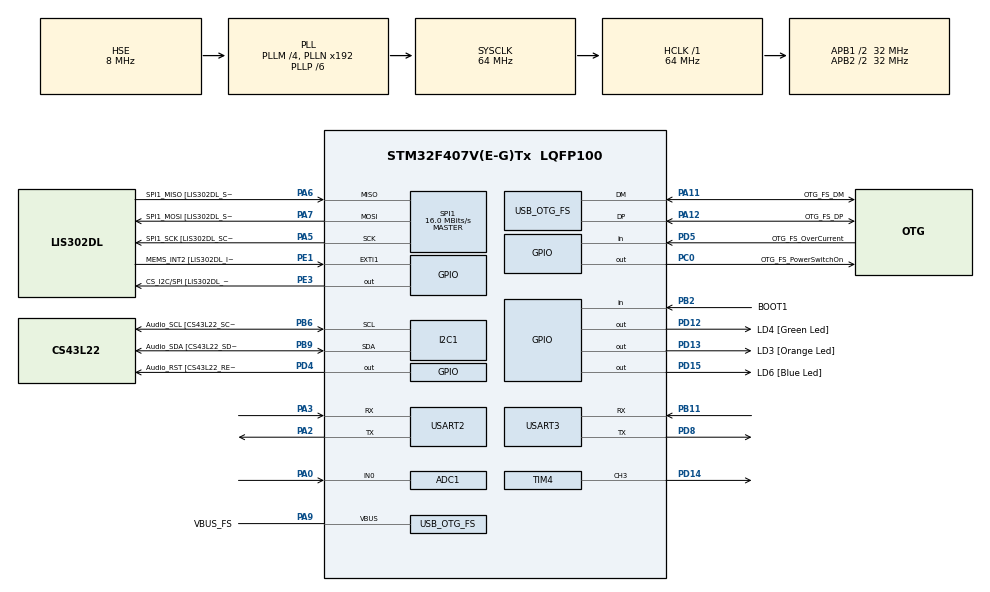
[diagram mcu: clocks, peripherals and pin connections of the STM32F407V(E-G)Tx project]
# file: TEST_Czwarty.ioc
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ADC1.Channel-0\#ChannelRegularConversion=ADC_CHANNEL_0
ADC1.ContinuousConvMode=DISABLE
ADC1.ExternalTrigConv=ADC_EXTERNALTRIGCONV_T3_TRGO
ADC1.NbrOfConversion=1
ADC1.NbrOfConversionFlag=1
ADC1.Rank-0\#ChannelRegularConversion=1
ADC1.SamplingTime-0\#ChannelRegularConversion=ADC_SAMPLETIME_480CYCLES
ADC1.master=1
FREERTOS.HEAP_NUMBER=3
FREERTOS.Queues01=Console_Rx,16,char,0,Dynamic,NULL,NULL
FREERTOS.Tasks01=defaultTask,0,128,StartDefaultTask,Default,NULL,Dynamic,NULL,NULL;Console_service,-2,256,Console_service_start,Default,NULL,Dynamic,NULL,NULL;ADC_service,0,256,ADC_service_start,Default,NULL,Dynamic,NULL,NULL;Diode_Toggle,-3,128,Diode_Toggle_start,Default,NULL,Dynamic,NULL,NULL
FREERTOS.configGENERATE_RUN_TIME_STATS=0
FREERTOS.configTOTAL_HEAP_SIZE=15360
FREERTOS.configUSE_STATS_FORMATTING_FUNCTIONS=0
FREERTOS.configUSE_TRACE_FACILITY=0
Mcu.Family=STM32F4
Mcu.Name=STM32F407V(E-G)Tx
Mcu.Package=LQFP100
NVIC.ADC_IRQn=true\:5\:0\:false\:false\:true\:true\:true\:true
NVIC.OTG_FS_IRQn=true\:5\:0\:false\:false\:true\:true\:true\:true
NVIC.PriorityGroup=NVIC_PRIORITYGROUP_4
NVIC.RCC_IRQn=true\:5\:0\:false\:false\:true\:true\:true\:false
NVIC.TIM3_IRQn=true\:5\:0\:false\:false\:true\:true\:true\:true
NVIC.TIM4_IRQn=true\:5\:0\:false\:false\:true\:true\:true\:true
NVIC.USART2_IRQn=true\:5\:0\:false\:false\:true\:true\:true\:true
NVIC.USART3_IRQn=true\:5\:0\:false\:false\:true\:true\:true\:true
PA0-WKUP.Signal=ADCx_IN0
PA10.GPIO_Label=OTG_FS_ID
PA10.GPIO_Mode=GPIO_MODE_AF_PP
PA10.GPIO_PuPd=GPIO_NOPULL
PA10.GPIO_Speed=GPIO_SPEED_FREQ_LOW
PA10.Signal=USB_OTG_FS_ID
PA11.GPIO_Label=OTG_FS_DM
PA11.GPIO_Mode=GPIO_MODE_AF_PP
PA11.GPIO_PuPd=GPIO_NOPULL
PA11.GPIO_Speed=GPIO_SPEED_FREQ_LOW
PA11.Mode=Device_Only
PA11.Signal=USB_OTG_FS_DM
PA12.GPIO_Label=OTG_FS_DP
PA12.GPIO_Mode=GPIO_MODE_AF_PP
PA12.GPIO_PuPd=GPIO_NOPULL
PA12.GPIO_Speed=GPIO_SPEED_FREQ_LOW
PA12.Mode=Device_Only
PA12.Signal=USB_OTG_FS_DP
PA13.GPIO_Label=SWDIO
PA13.Mode=Serial_Wire
PA13.Signal=SYS_JTMS-SWDIO
PA14.GPIO_Label=SWCLK
PA14.Mode=Serial_Wire
PA14.Signal=SYS_JTCK-SWCLK
PA2.Mode=Asynchronous
PA2.Signal=USART2_TX
PA3.Mode=Asynchronous
PA3.Signal=USART2_RX
PA4.GPIO_Label=I2S3_WS [CS43L22_LRCK]
PA4.GPIO_Mode=GPIO_MODE_AF_PP
PA4.GPIO_PuPd=GPIO_NOPULL
PA4.GPIO_Speed=GPIO_SPEED_FREQ_LOW
PA4.Signal=I2S3_WS
PA5.GPIO_Label=SPI1_SCK [LIS302DL_SCL/SPC]
PA5.GPIO_Mode=GPIO_MODE_AF_PP
PA5.GPIO_PuPd=GPIO_NOPULL
PA5.GPIO_Speed=GPIO_SPEED_FREQ_LOW
PA5.Mode=Full_Duplex_Master
PA5.Signal=SPI1_SCK
PA6.GPIO_Label=SPI1_MISO [LIS302DL_SDO]
PA6.GPIO_Mode=GPIO_MODE_AF_PP
PA6.GPIO_PuPd=GPIO_NOPULL
PA6.GPIO_Speed=GPIO_SPEED_FREQ_LOW
PA6.Mode=Full_Duplex_Master
PA6.Signal=SPI1_MISO
PA7.GPIO_Label=SPI1_MOSI [LIS302DL_SDA/SDI/SDO]
PA7.GPIO_Mode=GPIO_MODE_AF_PP
PA7.GPIO_PuPd=GPIO_NOPULL
PA7.GPIO_Speed=GPIO_SPEED_FREQ_LOW
PA7.Mode=Full_Duplex_Master
PA7.Signal=SPI1_MOSI
PA9.GPIO_Label=VBUS_FS
PA9.GPIO_Mode=GPIO_MODE_INPUT
PA9.GPIO_PuPd=GPIO_NOPULL
PA9.Mode=Activate_VBUS
PA9.Signal=USB_OTG_FS_VBUS
PB10.GPIO_Label=CLK_IN [MP45DT02_CLK]
PB10.GPIO_Mode=GPIO_MODE_AF_PP
PB10.GPIO_PuPd=GPIO_NOPULL
PB10.GPIO_Speed=GPIO_SPEED_FREQ_LOW
PB10.Signal=I2S2_CK
PB11.Mode=Asynchronous
PB11.Signal=USART3_RX
PB2.GPIO_Label=BOOT1
PB2.GPIO_Mode=GPIO_MODE_INPUT
PB2.GPIO_PuPd=GPIO_NOPULL
PB2.Signal=GPIO_Input
PB3.GPIO_Label=SWO
PB3.Signal=SYS_JTDO-SWO
PB6.GPIO_Label=Audio_SCL [CS43L22_SCL]
PB6.GPIO_Mode=GPIO_MODE_AF_OD
PB6.GPIO_PuPd=GPIO_NOPULL
PB6.GPIO_Speed=GPIO_SPEED_FREQ_LOW
PB6.Mode=I2C
PB6.Signal=I2C1_SCL
PB9.GPIO_Label=Audio_SDA [CS43L22_SDA]
PB9.GPIO_Mode=GPIO_MODE_AF_OD
PB9.GPIO_PuPd=GPIO_NOPULL
PB9.GPIO_Speed=GPIO_SPEED_FREQ_LOW
PB9.Mode=I2C
PB9.Signal=I2C1_SDA
PC0.GPIO_Label=OTG_FS_PowerSwitchOn
PC0.GPIO_PuPd=GPIO_NOPULL
PC0.GPIO_Speed=GPIO_SPEED_FREQ_LOW
PC0.PinState=GPIO_PIN_SET
PC0.Signal=GPIO_Output
PC10.GPIO_Label=I2S3_SCK [CS43L22_SCLK]
PC10.GPIO_Mode=GPIO_MODE_AF_PP
PC10.GPIO_PuPd=GPIO_NOPULL
PC10.GPIO_Speed=GPIO_SPEED_FREQ_LOW
PC10.Signal=I2S3_CK
PC12.GPIO_Label=I2S3_SD [CS43L22_SDIN]
PC12.GPIO_Mode=GPIO_MODE_AF_PP
PC12.GPIO_PuPd=GPIO_NOPULL
PC12.GPIO_Speed=GPIO_SPEED_FREQ_LOW
PC12.Signal=I2S3_SD
PC14-OSC32_IN.GPIO_Label=PC14-OSC32_IN
PC14-OSC32_IN.Signal=RCC_OSC32_IN
PC15-OSC32_OUT.GPIO_Label=PC15-OSC32_OUT
PC15-OSC32_OUT.Signal=RCC_OSC32_OUT
PC3.GPIO_Label=PDM_OUT [MP45DT02_DOUT]
PC3.GPIO_Mode=GPIO_MODE_AF_PP
PC3.GPIO_PuPd=GPIO_NOPULL
PC3.GPIO_Speed=GPIO_SPEED_FREQ_LOW
PC3.Signal=I2S2_SD
PC7.GPIO_Label=I2S3_MCK [CS43L22_MCLK]
PC7.GPIO_Mode=GPIO_MODE_AF_PP
PC7.GPIO_PuPd=GPIO_NOPULL
PC7.GPIO_Speed=GPIO_SPEED_FREQ_LOW
PC7.Signal=I2S3_MCK
PD12.GPIO_Label=LD4 [Green Led]
PD12.GPIO_PuPd=GPIO_NOPULL
PD12.GPIO_Speed=GPIO_SPEED_FREQ_LOW
PD12.Signal=GPIO_Output
PD13.GPIO_Label=LD3 [Orange Led]
PD13.GPIO_PuPd=GPIO_NOPULL
PD13.GPIO_Speed=GPIO_SPEED_FREQ_LOW
PD13.Signal=GPIO_Output
PD14.GPIO_PuPd=GPIO_PULLUP
PD14.Signal=S_TIM4_CH3
PD15.GPIO_Label=LD6 [Blue Led]
PD15.GPIO_PuPd=GPIO_NOPULL
PD15.GPIO_Speed=GPIO_SPEED_FREQ_LOW
PD15.Signal=GPIO_Output
PD4.GPIO_Label=Audio_RST [CS43L22_RESET]
PD4.GPIO_PuPd=GPIO_NOPULL
PD4.GPIO_Speed=GPIO_SPEED_FREQ_LOW
PD4.Signal=GPIO_Output
PD5.GPIO_Label=OTG_FS_OverCurrent
PD5.GPIO_Mode=GPIO_MODE_INPUT
PD5.GPIO_PuPd=GPIO_NOPULL
PD5.Signal=GPIO_Input
PD8.Mode=Asynchronous
PD8.Signal=USART3_TX
PE1.GPIO_Label=MEMS_INT2 [LIS302DL_INT2]
PE1.GPIO_ModeDefaultEXTI=GPIO_MODE_EVT_RISING
PE1.GPIO_PuPd=GPIO_NOPULL
PE1.Signal=GPXTI1
PE3.GPIO_Label=CS_I2C/SPI [LIS302DL_CS_I2C/SPI]
PE3.GPIO_PuPd=GPIO_NOPULL
PE3.GPIO_Speed=GPIO_SPEED_FREQ_LOW
PE3.Signal=GPIO_Output
PH0-OSC_IN.GPIO_Label=PH0-OSC_IN
PH0-OSC_IN.Mode=HSE-External-Oscillator
PH0-OSC_IN.Signal=RCC_OSC_IN
PH1-OSC_OUT.GPIO_Label=PH1-OSC_OUT
PH1-OSC_OUT.Mode=HSE-External-Oscillator
PH1-OSC_OUT.Signal=RCC_OSC_OUT
ProjectManager.HeapSize=0x200
ProjectManager.StackSize=0x400
ProjectManager.TargetToolchain=STM32CubeIDE
RCC.48MHZClocksFreq_Value=48000000
RCC.AHBFreq_Value=64000000
RCC.APB1CLKDivider=RCC_HCLK_DIV2
RCC.APB1Freq_Value=32000000
RCC.APB1TimFreq_Value=64000000
RCC.APB2CLKDivider=RCC_HCLK_DIV2
RCC.APB2Freq_Value=32000000
RCC.APB2TimFreq_Value=64000000
RCC.CortexFreq_Value=64000000
RCC.HCLKFreq_Value=64000000
RCC.HSE_VALUE=8000000
RCC.HSI_VALUE=16000000
RCC.LSE_VALUE=32768
RCC.PLLI2SN=50
RCC.PLLM=4
RCC.PLLP=RCC_PLLP_DIV6
RCC.PLLQ=8
RCC.SYSCLKFreq_VALUE=64000000
RCC.SYSCLKSource=RCC_SYSCLKSOURCE_PLLCLK
RCC.VCOOutputFreq_Value=384000000
SH.ADCx_IN0.0=ADC1_IN0,IN0
SH.S_TIM4_CH3.0=TIM4_CH3,PWM Generation3 CH3
SPI1.BaudRatePrescaler-Full_Duplex_Master=SPI_BAUDRATEPRESCALER_2
SPI1.CalculateBaudRate=16.0 MBits/s
SPI1.CalculateBaudRate-Full_Duplex_Master=42.0 MBits/s
SPI1.Direction=SPI_DIRECTION_2LINES
SPI1.Mode=SPI_MODE_MASTER
SPI1.Mode-Full_Duplex_Master=SPI_MODE_MASTER
SPI1.VirtualType=VM_MASTER
TIM3.Period=16
TIM3.Prescaler=9999
TIM3.TIM_MasterOutputTrigger=TIM_TRGO_OC1
TIM4.Channel-PWM\ Generation3\ CH3=TIM_CHANNEL_3
TIM4.OCMode_PWM-PWM\ Generation3\ CH3=TIM_OCMODE_PWM1
TIM4.Period=100
TIM4.Prescaler=2
TIM4.TIM_MasterOutputTrigger=TIM_TRGO_RESET
USART2.VirtualMode=VM_ASYNC
USART3.VirtualMode=VM_ASYNC
USB_DEVICE.CLASS_NAME_FS=CDC
USB_DEVICE.VirtualMode-CDC_FS=Cdc
USB_DEVICE.VirtualModeFS=Cdc_FS
USB_OTG_FS.VirtualMode=Device_Only
VP_FREERTOS_VS_CMSIS_V1.Mode=CMSIS_V1
VP_TIM3_VS_ClockSourceINT.Mode=Internal
VP_TIM3_VS_ClockSourceITR.Mode=TriggerSource_ITR3
VP_TIM4_VS_ClockSourceINT.Mode=Internal
VP_USB_DEVICE_VS_USB_DEVICE_CDC_FS.Mode=CDC_FS
board=STM32F4DISCOVERY

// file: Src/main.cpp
/* USER CODE BEGIN Header */
/**
  ******************************************************************************
  * @file           : main.c
  * @brief          : Main program body
  ******************************************************************************
  * @attention
  *
  * <h2><center>&copy; Copyright (c) 2019 STMicroelectronics.
  * All rights reserved.</center></h2>
  *
  * This software component is licensed by ST under Ultimate Liberty license
  * SLA0044, the "License"; You may not use this file except in compliance with
  * the License. You may obtain a copy of the License at:
  *                             www.st.com/SLA0044
  *
  ******************************************************************************
  */
/* USER CODE END Header */

#include "main.h"
#include "cmsis_os.h"
#include "usb_device.h"

/* USER CODE BEGIN Includes */

#include "usbd_cdc_if.h" // Plik bedacy interfejsem uzytkownika do kontrolera USB
#include "string.h"
#include "queue.h"
#include <cmath>
#include "PWM_service.hpp"
#include "ADC_service.hpp"
#include "Console_service.hpp"
#include "PID_service.hpp"
#include "Set_P.hpp"
#include "Get_P.hpp"
#include <stdio.h>

/* USER CODE END Includes */

/* USER CODE BEGIN PTD */

//#ifdef __GNUC__
//  /* With GCC, small printf (option LD Linker->Libraries->Small printf
//     set to 'Yes') calls __io_putchar() */
//  #define PUTCHAR_PROTOTYPE int io_putchar(int ch)
//#else
//  #define PUTCHAR_PROTOTYPE int fputc(int ch, FILE *f)
//#endif /* __GNUC__ */

/* USER CODE END PTD */

ADC_HandleTypeDef hadc1;

I2C_HandleTypeDef hi2c1;

SPI_HandleTypeDef hspi1;

TIM_HandleTypeDef htim3;
TIM_HandleTypeDef htim4;

UART_HandleTypeDef huart2;
UART_HandleTypeDef huart3;

osThreadId defaultTaskHandle;
osThreadId Console_serviceHandle;
osThreadId ADC_serviceHandle;
osThreadId Diode_ToggleHandle;
osMessageQId Console_RxHandle;

/* USER CODE BEGIN PV */
/* Private variables ---------------------------------------------------------*/

uint8_t ReceivedData; // Tablica przechowujaca odebrane dane
uint8_t Data_To_Send[50];
uint32_t PID_UART;
float ADC_UART;
uint8_t cnt = 0;

/* Deklaracja objektow -------------------------------------------------------*/

AnalogOutInterface* pwm = new PWMConf(&htim4);
ADCConf* adc = new ADCConf(pwm);
UartCom* uart = NULL;
PID* pid = new PID(0.01,10,23.8,0);
std::map<string,CommandInterface*>* Command_map;

/* USER CODE END PV */

void SystemClock_Config(void);
static void MX_GPIO_Init(void);
static void MX_I2C1_Init(void);
static void MX_SPI1_Init(void);
static void MX_USART2_UART_Init(void);
static void MX_ADC1_Init(void);
static void MX_TIM4_Init(void);
static void MX_TIM3_Init(void);
static void MX_USART3_UART_Init(void);
void StartDefaultTask(void const * argument);
void Console_service_start(void const * argument);
void ADC_service_start(void const * argument);

/* USER CODE BEGIN PFP */
/* Private function prototypes -----------------------------------------------*/

extern "C" void initialise_monitor_handles(void);  // inicjalizacja semi-hostingu

void UART_Class_RC(uint8_t Data_RC);
void UART_Class_RUN(void const* param);
void ADC_Print(void const* param);
int PWM_Change();

// Przerwanie_ADC - start pomiaru za pomoca Timera 3 - 100 kHz
 void HAL_ADC_ConvCpltCallback(ADC_HandleTypeDef *hadc1) {

	adc-> ADC_Push(HAL_ADC_GetValue(hadc1));

 }

 void HAL_UART_RxCpltCallback(UART_HandleTypeDef *huart) {

	 uart -> UART_Rec_Sign(ReceivedData);
	 HAL_UART_Receive_IT(&huart2, &ReceivedData, 1);

 }

/* USER CODE END PFP */

int main(void)
{
  /* USER CODE BEGIN 1 */

	SetP* set_p = new SetP(pid);
	Command_map = new std::map<string,CommandInterface*>;
	Command_map->insert(std::pair<string,CommandInterface*>("SetP",set_p));
	Command_map->insert(std::pair<string,CommandInterface*>("GetP",new GetP(set_p->Set_To_Get())));
	uart = new UartCom(13,*Command_map);

  /* USER CODE END 1 */

  /* MCU Configuration--------------------------------------------------------*/

  /* Reset of all peripherals, Initializes the Flash interface and the Systick. */

	HAL_Init();

  /* Configure the system clock */
  SystemClock_Config();

  /* Initialize all configured peripherals */
  MX_GPIO_Init();
  MX_I2C1_Init();
  MX_SPI1_Init();
  MX_USART2_UART_Init();
  MX_ADC1_Init();
  MX_TIM4_Init();
  MX_TIM3_Init();
  MX_USART3_UART_Init();

  /* USER CODE BEGIN 2 */

 //initialise_monitor_handles();					///-/-/-/-/-/-/-/-/-/-/-/-/-/-/-/-/-/-/-/-/-/-/-/-/-/-/-/-/-/-/-/-/-/-/-/-/

 HAL_TIM_Base_Start_IT(&htim3);

 HAL_ADC_Start_IT(&hadc1);

 HAL_TIM_PWM_Start(&htim4, TIM_CHANNEL_3);

 HAL_UART_Receive_IT(&huart2, &ReceivedData, 1);

  /* USER CODE END 2 */

  /* Create the queue(s) */
  /* definition and creation of Console_Rx */

  osMessageQDef(Console_Rx, 16, char);
  Console_RxHandle = osMessageCreate(osMessageQ(Console_Rx), NULL);

  /* Create the thread(s) */
  /* definition and creation of defaultTask */
  osThreadDef(defaultTask, StartDefaultTask, osPriorityBelowNormal, 0, 256);
  defaultTaskHandle = osThreadCreate(osThread(defaultTask), NULL);

  /* definition and creation of Console_service */
  osThreadDef(Console_service, Console_service_start, osPriorityNormal, 0, 3*256);                  ///UART_Class_RUN
  Console_serviceHandle = osThreadCreate(osThread(Console_service), NULL);

  /* definition and creation of ADC_service */
  osThreadDef(ADC_service, ADC_service_start, osPriorityNormal, 0, 256);				//ADC_Print
  ADC_serviceHandle = osThreadCreate(osThread(ADC_service), NULL);

  /* Start scheduler */
  osKernelStart();

  /* We should never get here as control is now taken by the scheduler */

  /* Infinite loop */
	while (1) {

	}
}

void SystemClock_Config(void)
{
  RCC_OscInitTypeDef RCC_OscInitStruct = {0};
  RCC_ClkInitTypeDef RCC_ClkInitStruct = {0};

  /** Configure the main internal regulator output voltage
  */
  __HAL_RCC_PWR_CLK_ENABLE();
  __HAL_PWR_VOLTAGESCALING_CONFIG(PWR_REGULATOR_VOLTAGE_SCALE1);
  /** Initializes the CPU, AHB and APB busses clocks
  */
  RCC_OscInitStruct.OscillatorType = RCC_OSCILLATORTYPE_HSE;
    RCC_OscInitStruct.HSEState = RCC_HSE_ON;
    RCC_OscInitStruct.PLL.PLLState = RCC_PLL_ON;
    RCC_OscInitStruct.PLL.PLLSource = RCC_PLLSOURCE_HSE;
    RCC_OscInitStruct.PLL.PLLM = 4;
    RCC_OscInitStruct.PLL.PLLN = 192;
    RCC_OscInitStruct.PLL.PLLP = RCC_PLLP_DIV6;
    RCC_OscInitStruct.PLL.PLLQ = 8;
  if (HAL_RCC_OscConfig(&RCC_OscInitStruct) != HAL_OK)
  {
    Error_Handler();
  }
  /** Initializes the CPU, AHB and APB busses clocks
  */
  RCC_ClkInitStruct.ClockType = RCC_CLOCKTYPE_HCLK|RCC_CLOCKTYPE_SYSCLK
                              |RCC_CLOCKTYPE_PCLK1|RCC_CLOCKTYPE_PCLK2;
  RCC_ClkInitStruct.SYSCLKSource = RCC_SYSCLKSOURCE_PLLCLK;
  RCC_ClkInitStruct.AHBCLKDivider = RCC_SYSCLK_DIV1;
  RCC_ClkInitStruct.APB1CLKDivider = RCC_HCLK_DIV2;
  RCC_ClkInitStruct.APB2CLKDivider = RCC_HCLK_DIV2;

  if (HAL_RCC_ClockConfig(&RCC_ClkInitStruct, FLASH_LATENCY_1) != HAL_OK)
  {
    Error_Handler();
  }
}

static void MX_ADC1_Init(void)
{

  ADC_ChannelConfTypeDef sConfig = {0};

  /** Configure the global features of the ADC (Clock, Resolution, Data Alignment and number of conversion)
  */
  hadc1.Instance = ADC1;
  hadc1.Init.ClockPrescaler = ADC_CLOCK_SYNC_PCLK_DIV2;
  hadc1.Init.Resolution = ADC_RESOLUTION_12B;
  hadc1.Init.ScanConvMode = DISABLE;
  hadc1.Init.ContinuousConvMode = DISABLE;
  hadc1.Init.DiscontinuousConvMode = DISABLE;
  hadc1.Init.ExternalTrigConvEdge = ADC_EXTERNALTRIGCONVEDGE_RISING;
  hadc1.Init.ExternalTrigConv = ADC_EXTERNALTRIGCONV_T3_TRGO;
  hadc1.Init.DataAlign = ADC_DATAALIGN_RIGHT;
  hadc1.Init.NbrOfConversion = 1;
  hadc1.Init.DMAContinuousRequests = DISABLE;
  hadc1.Init.EOCSelection = ADC_EOC_SINGLE_CONV;
  if (HAL_ADC_Init(&hadc1) != HAL_OK)
  {
    Error_Handler();
  }
  /** Configure for the selected ADC regular channel its corresponding rank in the sequencer and its sample time.
  */
  sConfig.Channel = ADC_CHANNEL_0;
  sConfig.Rank = 1;
  sConfig.SamplingTime = ADC_SAMPLETIME_480CYCLES;
  if (HAL_ADC_ConfigChannel(&hadc1, &sConfig) != HAL_OK)
  {
    Error_Handler();
  }

}

static void MX_I2C1_Init(void)
{

  hi2c1.Instance = I2C1;
  hi2c1.Init.ClockSpeed = 100000;
  hi2c1.Init.DutyCycle = I2C_DUTYCYCLE_2;
  hi2c1.Init.OwnAddress1 = 0;
  hi2c1.Init.AddressingMode = I2C_ADDRESSINGMODE_7BIT;
  hi2c1.Init.DualAddressMode = I2C_DUALADDRESS_DISABLE;
  hi2c1.Init.OwnAddress2 = 0;
  hi2c1.Init.GeneralCallMode = I2C_GENERALCALL_DISABLE;
  hi2c1.Init.NoStretchMode = I2C_NOSTRETCH_DISABLE;
  if (HAL_I2C_Init(&hi2c1) != HAL_OK)
  {
    Error_Handler();
  }

}

static void MX_SPI1_Init(void)
{

  /* SPI1 parameter configuration*/
  hspi1.Instance = SPI1;
  hspi1.Init.Mode = SPI_MODE_MASTER;
  hspi1.Init.Direction = SPI_DIRECTION_2LINES;
  hspi1.Init.DataSize = SPI_DATASIZE_8BIT;
  hspi1.Init.CLKPolarity = SPI_POLARITY_LOW;
  hspi1.Init.CLKPhase = SPI_PHASE_1EDGE;
  hspi1.Init.NSS = SPI_NSS_SOFT;
  hspi1.Init.BaudRatePrescaler = SPI_BAUDRATEPRESCALER_2;
  hspi1.Init.FirstBit = SPI_FIRSTBIT_MSB;
  hspi1.Init.TIMode = SPI_TIMODE_DISABLE;
  hspi1.Init.CRCCalculation = SPI_CRCCALCULATION_DISABLE;
  hspi1.Init.CRCPolynomial = 10;
  if (HAL_SPI_Init(&hspi1) != HAL_OK)
  {
    Error_Handler();
  }

}

static void MX_TIM3_Init(void)
{

  TIM_ClockConfigTypeDef sClockSourceConfig = {0};
  TIM_MasterConfigTypeDef sMasterConfig = {0};

  htim3.Instance = TIM3;
  htim3.Init.Prescaler = 999;
  htim3.Init.CounterMode = TIM_COUNTERMODE_UP;
  htim3.Init.Period = 31;
  htim3.Init.ClockDivision = TIM_CLOCKDIVISION_DIV1;
  htim3.Init.AutoReloadPreload = TIM_AUTORELOAD_PRELOAD_DISABLE;
  if (HAL_TIM_Base_Init(&htim3) != HAL_OK)
  {
    Error_Handler();
  }
  sClockSourceConfig.ClockSource = TIM_CLOCKSOURCE_INTERNAL;
  if (HAL_TIM_ConfigClockSource(&htim3, &sClockSourceConfig) != HAL_OK)
  {
    Error_Handler();
  }
  sMasterConfig.MasterOutputTrigger = TIM_TRGO_OC1;
  sMasterConfig.MasterSlaveMode = TIM_MASTERSLAVEMODE_DISABLE;
  if (HAL_TIMEx_MasterConfigSynchronization(&htim3, &sMasterConfig) != HAL_OK)
  {
    Error_Handler();
  }

}

static void MX_TIM4_Init(void)
{

  TIM_ClockConfigTypeDef sClockSourceConfig = {0};
  TIM_MasterConfigTypeDef sMasterConfig = {0};
  TIM_OC_InitTypeDef sConfigOC = {0};

  htim4.Instance = TIM4;
  htim4.Init.Prescaler = 1;
  htim4.Init.CounterMode = TIM_COUNTERMODE_UP;
  htim4.Init.Period = 319;
  htim4.Init.ClockDivision = TIM_CLOCKDIVISION_DIV1;
  htim4.Init.AutoReloadPreload = TIM_AUTORELOAD_PRELOAD_DISABLE;
  if (HAL_TIM_Base_Init(&htim4) != HAL_OK)
  {
    Error_Handler();
  }
  sClockSourceConfig.ClockSource = TIM_CLOCKSOURCE_INTERNAL;
  if (HAL_TIM_ConfigClockSource(&htim4, &sClockSourceConfig) != HAL_OK)
  {
    Error_Handler();
  }
  if (HAL_TIM_PWM_Init(&htim4) != HAL_OK)
  {
    Error_Handler();
  }
  sMasterConfig.MasterOutputTrigger = TIM_TRGO_RESET;
  sMasterConfig.MasterSlaveMode = TIM_MASTERSLAVEMODE_DISABLE;
  if (HAL_TIMEx_MasterConfigSynchronization(&htim4, &sMasterConfig) != HAL_OK)
  {
    Error_Handler();
  }
  sConfigOC.OCMode = TIM_OCMODE_PWM1;
  sConfigOC.Pulse = 0;
  sConfigOC.OCPolarity = TIM_OCPOLARITY_HIGH;
  sConfigOC.OCFastMode = TIM_OCFAST_DISABLE;
  if (HAL_TIM_PWM_ConfigChannel(&htim4, &sConfigOC, TIM_CHANNEL_3) != HAL_OK)
  {
    Error_Handler();
  }
  HAL_TIM_MspPostInit(&htim4);

}

static void MX_USART2_UART_Init(void)
{

  huart2.Instance = USART2;
  huart2.Init.BaudRate = 115200;
  huart2.Init.WordLength = UART_WORDLENGTH_8B;
  huart2.Init.StopBits = UART_STOPBITS_1;
  huart2.Init.Parity = UART_PARITY_NONE;
  huart2.Init.Mode = UART_MODE_TX_RX;
  huart2.Init.HwFlowCtl = UART_HWCONTROL_NONE;
  huart2.Init.OverSampling = UART_OVERSAMPLING_16;
  if (HAL_UART_Init(&huart2) != HAL_OK)
  {
    Error_Handler();
  }

}

static void MX_USART3_UART_Init(void)
{

  huart3.Instance = USART3;
  huart3.Init.BaudRate = 115200;
  huart3.Init.WordLength = UART_WORDLENGTH_8B;
  huart3.Init.StopBits = UART_STOPBITS_1;
  huart3.Init.Parity = UART_PARITY_NONE;
  huart3.Init.Mode = UART_MODE_TX_RX;
  huart3.Init.HwFlowCtl = UART_HWCONTROL_NONE;
  huart3.Init.OverSampling = UART_OVERSAMPLING_16;
  if (HAL_UART_Init(&huart3) != HAL_OK)
  {
    Error_Handler();
  }

}

static void MX_GPIO_Init(void)
{
  GPIO_InitTypeDef GPIO_InitStruct = {0};

  /* GPIO Ports Clock Enable */
  __HAL_RCC_GPIOE_CLK_ENABLE();
  __HAL_RCC_GPIOC_CLK_ENABLE();
  __HAL_RCC_GPIOH_CLK_ENABLE();
  __HAL_RCC_GPIOA_CLK_ENABLE();
  __HAL_RCC_GPIOB_CLK_ENABLE();
  __HAL_RCC_GPIOD_CLK_ENABLE();

  /*Configure GPIO pin Output Level */
  HAL_GPIO_WritePin(CS_I2C_SPI_GPIO_Port, CS_I2C_SPI_Pin, GPIO_PIN_RESET);

  /*Configure GPIO pin Output Level */
  HAL_GPIO_WritePin(OTG_FS_PowerSwitchOn_GPIO_Port, OTG_FS_PowerSwitchOn_Pin, GPIO_PIN_SET);

  /*Configure GPIO pin Output Level */
  HAL_GPIO_WritePin(GPIOD, LD4_Pin|LD3_Pin|LD6_Pin|Audio_RST_Pin, GPIO_PIN_RESET);

  /*Configure GPIO pin : CS_I2C_SPI_Pin */
  GPIO_InitStruct.Pin = CS_I2C_SPI_Pin;
  GPIO_InitStruct.Mode = GPIO_MODE_OUTPUT_PP;
  GPIO_InitStruct.Pull = GPIO_NOPULL;
  GPIO_InitStruct.Speed = GPIO_SPEED_FREQ_LOW;
  HAL_GPIO_Init(CS_I2C_SPI_GPIO_Port, &GPIO_InitStruct);

  /*Configure GPIO pin : OTG_FS_PowerSwitchOn_Pin */
  GPIO_InitStruct.Pin = OTG_FS_PowerSwitchOn_Pin;
  GPIO_InitStruct.Mode = GPIO_MODE_OUTPUT_PP;
  GPIO_InitStruct.Pull = GPIO_NOPULL;
  GPIO_InitStruct.Speed = GPIO_SPEED_FREQ_LOW;
  HAL_GPIO_Init(OTG_FS_PowerSwitchOn_GPIO_Port, &GPIO_InitStruct);

  /*Configure GPIO pin : PDM_OUT_Pin */
  GPIO_InitStruct.Pin = PDM_OUT_Pin;
  GPIO_InitStruct.Mode = GPIO_MODE_AF_PP;
  GPIO_InitStruct.Pull = GPIO_NOPULL;
  GPIO_InitStruct.Speed = GPIO_SPEED_FREQ_LOW;
  GPIO_InitStruct.Alternate = GPIO_AF5_SPI2;
  HAL_GPIO_Init(PDM_OUT_GPIO_Port, &GPIO_InitStruct);

  /*Configure GPIO pin : Button_Pin */
  //GPIO_InitStruct.Pin = Button_Pin;
  //GPIO_InitStruct.Mode = GPIO_MODE_IT_RISING;
  //GPIO_InitStruct.Pull = GPIO_NOPULL;
  //HAL_GPIO_Init(Button_GPIO_Port, &GPIO_InitStruct);

  /*Configure GPIO pin : I2S3_WS_Pin */
  GPIO_InitStruct.Pin = I2S3_WS_Pin;
  GPIO_InitStruct.Mode = GPIO_MODE_AF_PP;
  GPIO_InitStruct.Pull = GPIO_NOPULL;
  GPIO_InitStruct.Speed = GPIO_SPEED_FREQ_LOW;
  GPIO_InitStruct.Alternate = GPIO_AF6_SPI3;
  HAL_GPIO_Init(I2S3_WS_GPIO_Port, &GPIO_InitStruct);

  /*Configure GPIO pin : BOOT1_Pin */
  GPIO_InitStruct.Pin = BOOT1_Pin;
  GPIO_InitStruct.Mode = GPIO_MODE_INPUT;
  GPIO_InitStruct.Pull = GPIO_NOPULL;
  HAL_GPIO_Init(BOOT1_GPIO_Port, &GPIO_InitStruct);

  /*Configure GPIO pin : CLK_IN_Pin */
  GPIO_InitStruct.Pin = CLK_IN_Pin;
  GPIO_InitStruct.Mode = GPIO_MODE_AF_PP;
  GPIO_InitStruct.Pull = GPIO_NOPULL;
  GPIO_InitStruct.Speed = GPIO_SPEED_FREQ_LOW;
  GPIO_InitStruct.Alternate = GPIO_AF5_SPI2;
  HAL_GPIO_Init(CLK_IN_GPIO_Port, &GPIO_InitStruct);

  /*Configure GPIO pins : LD4_Pin LD3_Pin LD6_Pin Audio_RST_Pin */
  GPIO_InitStruct.Pin = LD4_Pin|LD3_Pin|LD6_Pin|Audio_RST_Pin;
  GPIO_InitStruct.Mode = GPIO_MODE_OUTPUT_PP;
  GPIO_InitStruct.Pull = GPIO_NOPULL;
  GPIO_InitStruct.Speed = GPIO_SPEED_FREQ_LOW;
  HAL_GPIO_Init(GPIOD, &GPIO_InitStruct);

  /*Configure GPIO pins : I2S3_MCK_Pin I2S3_SCK_Pin I2S3_SD_Pin */
  GPIO_InitStruct.Pin = I2S3_MCK_Pin|I2S3_SCK_Pin|I2S3_SD_Pin;
  GPIO_InitStruct.Mode = GPIO_MODE_AF_PP;
  GPIO_InitStruct.Pull = GPIO_NOPULL;
  GPIO_InitStruct.Speed = GPIO_SPEED_FREQ_LOW;
  GPIO_InitStruct.Alternate = GPIO_AF6_SPI3;
  HAL_GPIO_Init(GPIOC, &GPIO_InitStruct);

  /*Configure GPIO pin : OTG_FS_OverCurrent_Pin */
  GPIO_InitStruct.Pin = OTG_FS_OverCurrent_Pin;
  GPIO_InitStruct.Mode = GPIO_MODE_INPUT;
  GPIO_InitStruct.Pull = GPIO_NOPULL;
  HAL_GPIO_Init(OTG_FS_OverCurrent_GPIO_Port, &GPIO_InitStruct);

  /*Configure GPIO pin : MEMS_INT2_Pin */
  GPIO_InitStruct.Pin = MEMS_INT2_Pin;
  GPIO_InitStruct.Mode = GPIO_MODE_EVT_RISING;
  GPIO_InitStruct.Pull = GPIO_NOPULL;
  HAL_GPIO_Init(MEMS_INT2_GPIO_Port, &GPIO_InitStruct);

  /* EXTI interrupt init*/
  HAL_NVIC_SetPriority(EXTI0_IRQn, 5, 0);
  HAL_NVIC_EnableIRQ(EXTI0_IRQn);

}

/* USER CODE BEGIN 4 */

extern "C" int putCharacter(char ch)
{
  /* Place your implementation of fputc here */
  /* e.g. write a character to the EVAL_COM1 and Loop until the end of transmission */
  HAL_UART_Transmit(&huart2, (uint8_t *)&ch, 1, 0xFFFF);

  return ch;
}

volatile uint32_t ulIdleCycleCount = 0;   //Zliczanie obiegow petli Idle

void vApplicationIdleHook(void){
//
//	for(;;){
//
	ulIdleCycleCount++;
//
//	}
}

/* USER CODE END 4 */

void StartDefaultTask(void const * argument)
{
  /* init code for USB_DEVICE */
  MX_USB_DEVICE_Init();

  /* USER CODE BEGIN 5 */
  /* Infinite loop */
  for(;;)
  {

	  HAL_GPIO_TogglePin(LD3_GPIO_Port, LD3_Pin);

	  osDelay(1000);

  }
  /* USER CODE END 5 */
}

void Console_service_start(void const * argument)
{
  /* USER CODE BEGIN Console_service_start */
  /* Infinite loop */

  for(;;)
  {

	  uart -> UART_Interface();

  }
  /* USER CODE END Console_service_start */
}

void ADC_service_start(void const * argument)
{
  /* USER CODE BEGIN ADC_service_start */
  /* Infinite loop */

	for(;;){

	 ADC_UART = (adc -> ADC_Send_Voltage());

	 PID_UART = round((pid -> PID_Control(ADC_UART)));

	 adc -> ADC_Send_PWM(PID_UART);

	 osDelay(1);

	}

}
  /* USER CODE END ADC_service_start */

void Error_Handler(void)
{
}

/************************ (C) COPYRIGHT STMicroelectronics *****END OF FILE****/
